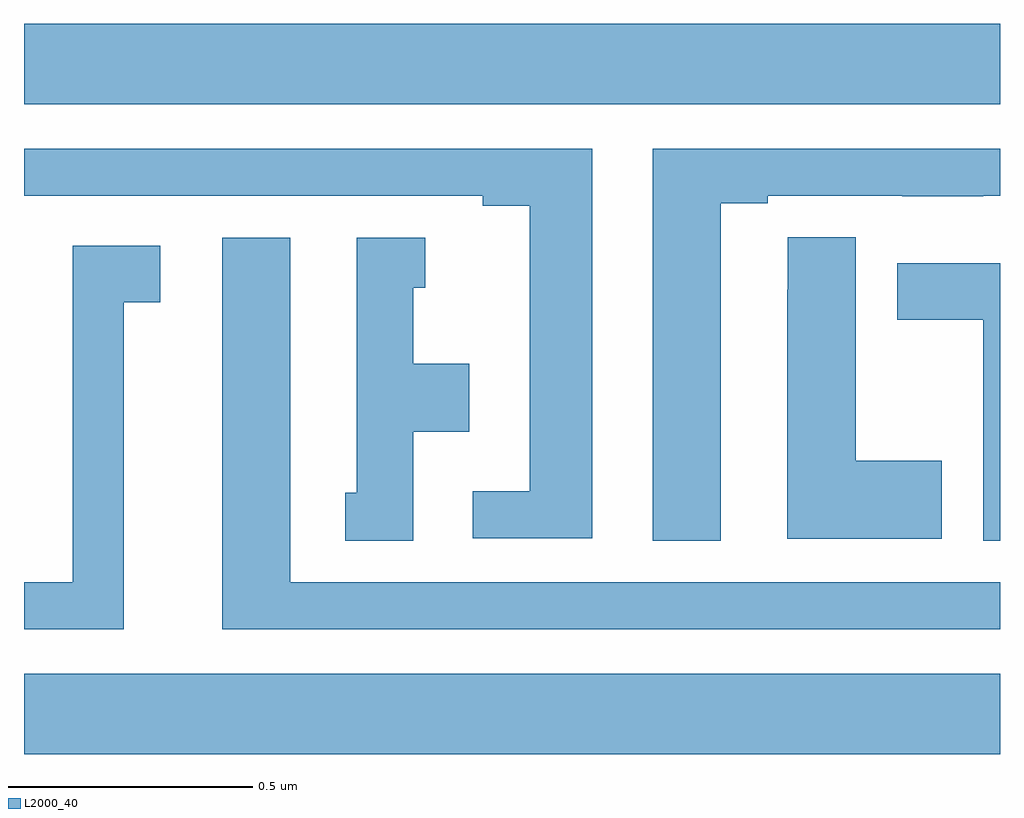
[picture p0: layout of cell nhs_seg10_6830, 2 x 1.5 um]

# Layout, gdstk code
import gdstk
lib = gdstk.Library(unit=1e-6, precision=1e-09)
def R(c, l, rs):  # rectangles x0, y0, x1, y1
    for r in rs: c.add(gdstk.rectangle(r[:2], r[2:], *l))
def P(c, l, *ps):  # polygons
    for p in ps: c.add(gdstk.Polygon(p, *l))
L2000_40 = (2000, 40)

nhs_seg10_6830 = lib.new_cell('nhs_seg10_6830')
R(nhs_seg10_6830, L2000_40, [(196,1297.652,198,1297.816), (196,1298.984,198,1299.148)])
P(nhs_seg10_6830, L2000_40, [(197.428,1298.781),(197.524,1298.781),(197.524,1298.796),(197.8,1298.796),(197.8,1298.795),(197.966,1298.795),(197.966,1298.796),(198,1298.796),(198,1298.892),(197.288,1298.892),(197.288,1298.089),(197.428,1298.089)],
  [(197.164,1298.892),(196,1298.892),(196,1298.796),(196.94,1298.796),(196.94,1298.776),(197.036,1298.776),(197.036,1298.19),(196.92,1298.19),(196.92,1298.094),(197.164,1298.094)],
  [(197.881,1298.253),(197.704,1298.253),(197.704,1298.711),(197.565,1298.711),(197.565,1298.603),(197.564,1298.603),(197.564,1298.093),(197.881,1298.093)],
  [(198,1298.004),(196.546,1298.004),(196.546,1298.71),(196.406,1298.71),(196.406,1297.908),(198,1297.908)],
  [(196.798,1298.312),(196.912,1298.312),(196.912,1298.452),(196.798,1298.452),(196.798,1298.607),(196.822,1298.607),(196.822,1298.71),(196.682,1298.71),(196.682,1298.187),(196.658,1298.187),(196.658,1298.089),(196.798,1298.089)],
  [(196.204,1298.578),(196.279,1298.578),(196.279,1298.694),(196.1,1298.694),(196.1,1298.004),(196,1298.004),(196,1297.908),(196.204,1297.908)],
  [(198,1298.658),(197.789,1298.658),(197.789,1298.542),(197.966,1298.542),(197.966,1298.089),(198,1298.089)])

lib.write_gds('nhs_seg10_6830.gds')
